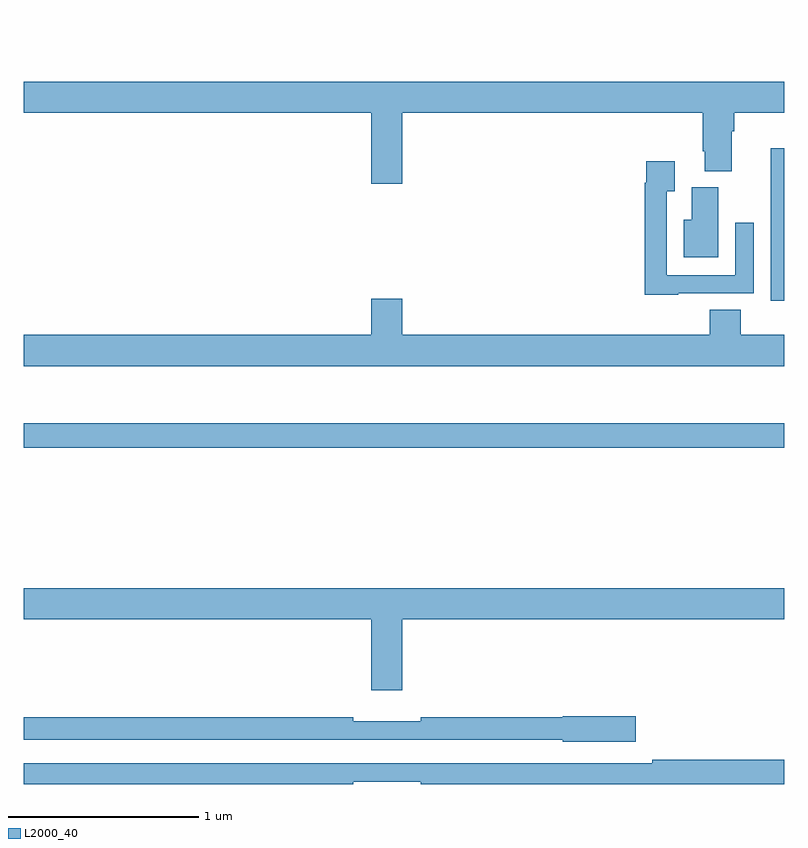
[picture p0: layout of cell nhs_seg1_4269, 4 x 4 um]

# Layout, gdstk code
import gdstk
lib = gdstk.Library(unit=1e-6, precision=1e-09)
def R(c, l, rs):  # rectangles x0, y0, x1, y1
    for r in rs: c.add(gdstk.rectangle(r[:2], r[2:], *l))
def P(c, l, *ps):  # polygons
    for p in ps: c.add(gdstk.Polygon(p, *l))
L2000_40 = (2000, 40)

nhs_seg1_4269 = lib.new_cell('nhs_seg1_4269')
R(nhs_seg1_4269, L2000_40, [(343,549.97,347,550.099), (343,552.198,347,552.199)])
P(nhs_seg1_4269, L2000_40, [(344.992,551.732),(346.571,551.732),(346.571,551.53),(346.583,551.53),(346.583,551.425),(346.723,551.425),(346.723,551.636),(346.736,551.636),(346.736,551.732),(347,551.732),(347,551.896),(343,551.896),(343,551.732),(344.828,551.732),(344.828,551.358),(344.992,551.358)],
  [(347,551.546),(346.928,551.546),(346.928,551.242),(346.929,551.242),(346.929,550.743),(347,550.743)],
  [(346.443,550.782),(346.839,550.782),(346.839,551.155),(346.743,551.155),(346.743,550.878),(346.383,550.878),(346.383,551.32),(346.423,551.32),(346.423,551.476),(346.275,551.476),(346.275,551.363),(346.267,551.363),(346.267,550.775),(346.443,550.775)],
  [(346.654,551.34),(346.514,551.34),(346.514,551.17),(346.472,551.17),(346.472,550.973),(346.654,550.973)],
  [(347,550.564),(346.772,550.564),(346.772,550.697),(346.607,550.697),(346.607,550.564),(344.992,550.564),(344.992,550.753),(344.828,550.753),(344.828,550.564),(343,550.564),(343,550.4),(347,550.4)],
  [(344.992,549.068),(347,549.068),(347,549.232),(343,549.232),(343,549.068),(344.828,549.068),(344.828,548.694),(344.992,548.694)],
  [(346.219,548.558),(345.834,548.558),(345.834,548.552),(345.088,548.552),(345.088,548.533),(344.732,548.533),(344.732,548.552),(343,548.552),(343,548.436),(345.834,548.436),(345.834,548.423),(346.219,548.423)],
  [(344.732,548.214),(345.088,548.214),(345.088,548.202),(347,548.202),(347,548.33),(346.306,548.33),(346.306,548.31),(343,548.31),(343,548.202),(344.732,548.202)])

lib.write_gds('nhs_seg1_4269.gds')
